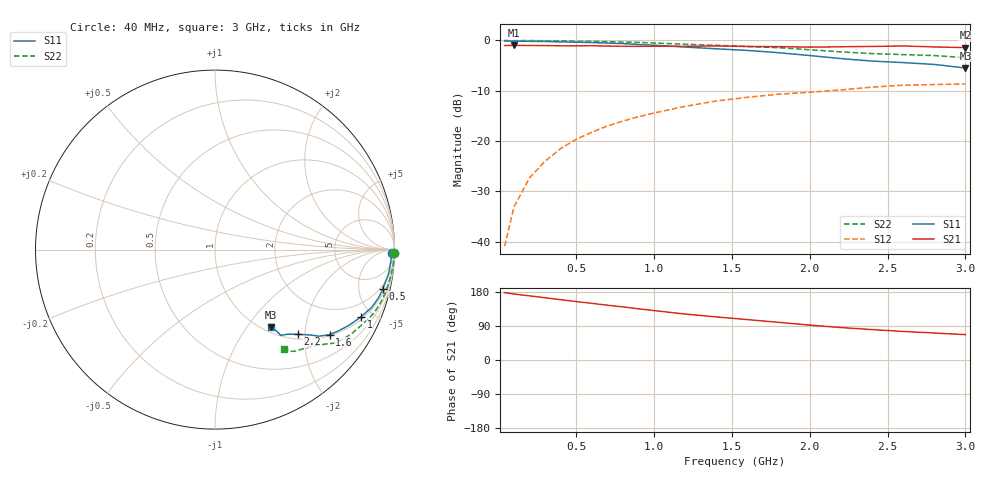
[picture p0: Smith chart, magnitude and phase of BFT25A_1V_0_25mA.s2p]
! Filename:  BFT25AB.S2P  Version:  2.0
! Philips part #: BFT25A  Date: Aug 1990
! Bias condition: Vce=1V, Ic=0.25mA
#  MHz  S  MA  R  50
! Freq  S11  S21  S12  S22  !GUM [dB]
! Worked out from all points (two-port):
!   21 points, 40 MHz to 3 GHz, reference 50 ohm
!   highest |S21| = -0.98 dB at 100 MHz (marker M1); lowest = -1.4 dB at 3 GHz (marker M2)
!   |S21| within 3 dB of the highest: start of sweep to end of sweep
!   lowest |S11| = -5.5 dB at 3 GHz (marker M3), VSWR 3.27, Z = 54.5 - j65.4 ohm
!   |S11| at or under -10 dB: nowhere
!   |S22| runs from -3.4 to 0.0 dB; largest |S21 - S12| = 0.89
!   S11 on the Smith chart (normalised r, x): 40 MHz: 44, -66; 500 MHz: 1.52, -8.44; 1 GHz: 1.13, -4.28; 1.6 GHz: 1.03, -2.67; 2.2 GHz: 1.10, -1.84; 3 GHz: 1.09, -1.31
40  0.986 -1.2  0.89 177.8  0.009 88.5  0.999 -1.0
100  0.983 -2.8  0.893 174.1  0.022 85.7  0.998 -2.5
200  0.98 -5.4  0.89 169.3  0.043 85.5  0.996 -5.1
300  0.976 -8.1  0.888 164.3  0.063 83.0  0.992 -7.6
400  0.967 -10.6  0.883 159.1  0.084 81.2  0.987 -10.2
500  0.96 -13.1  0.884 154.2  0.104 79.0  0.983 -12.6
600  0.953 -15.8  0.885 149.6  0.122 77.3  0.977 -14.9
700  0.941 -18.2  0.879 144.6  0.141 75.6  0.971 -17.2
800  0.929 -20.4  0.874 140.1  0.158 73.4  0.963 -19.3
900  0.911 -22.6  0.873 135.1  0.174 71.5  0.955 -21.4
1000  0.896 -24.7  0.875 130.5  0.19 69.5  0.943 -23.5
1200  0.859 -29.3  0.874 121.2  0.221 65.5  0.916 -27.6
1400  0.825 -33.2  0.882 113.7  0.25 62.1  0.894 -31.6
1600  0.795 -36.6  0.87 106.6  0.272 59.2  0.871 -34.9
1800  0.755 -39.7  0.867 99.4  0.292 56.3  0.846 -38.0
2000  0.707 -42.2  0.858 92.1  0.305 52.9  0.808 -40.7
2200  0.66 -45.7  0.864 85.6  0.322 49.8  0.769 -44.3
2400  0.623 -49.1  0.871 80.3  0.343 47.2  0.74 -48.2
2600  0.602 -52.5  0.881 75.3  0.359 45.0  0.723 -51.5
2800  0.577 -52.8  0.861 71.2  0.364 43.7  0.707 -53.3
3000  0.532 -54.0  0.849 67.0  0.369 42.3  0.674 -55.0
